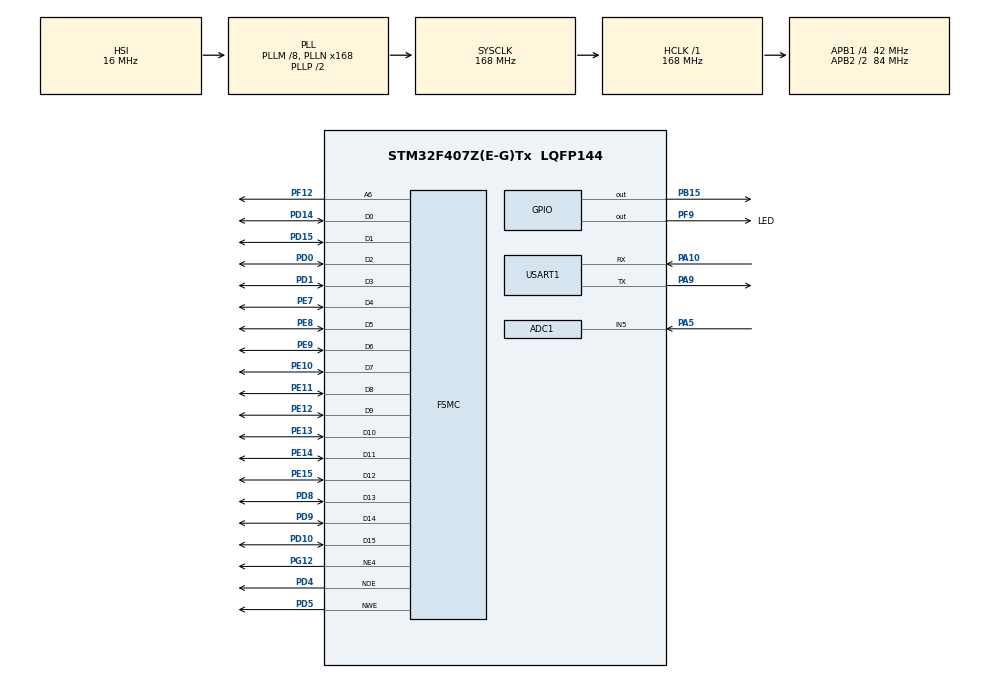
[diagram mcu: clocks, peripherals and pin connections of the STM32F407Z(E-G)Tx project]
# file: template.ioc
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Mcu.Family=STM32F4
PH0-OSC_IN.Signal=RCC_OSC_IN
RCC.CortexFreq_Value=168000000
SH.FSMC_D1_DA1.0=FSMC_D1,16b-d1
Dma.ADC1.1.MemDataAlignment=DMA_MDATAALIGN_HALFWORD
ADC1.ContinuousConvMode=ENABLE
SH.FSMC_A6.0=FSMC_A6,A6_1
SH.FSMC_NWE.0=FSMC_NWE,Lcd1
SH.FSMC_D0_DA0.0=FSMC_D0,16b-d1
FSMC.ExtendedBusTurnAroundDuration1=0
PB15.Signal=GPIO_Output
RCC.SYSCLKSource=RCC_SYSCLKSOURCE_PLLCLK
ProjectManager.StackSize=0x400
Dma.USART1_TX.0.Priority=DMA_PRIORITY_LOW
Dma.USART1_TX.0.Direction=DMA_MEMORY_TO_PERIPH
Dma.ADC1.1.Instance=DMA2_Stream0
ADC1.Channel-3\#ChannelRegularConversion=ADC_CHANNEL_5
RCC.HCLKFreq_Value=168000000
PD4.Signal=FSMC_NOE
RCC.APB2TimFreq_Value=168000000
ADC1.InjNumberOfConversion=0
Dma.ADC1.1.PeriphDataAlignment=DMA_PDATAALIGN_HALFWORD
PF12.Signal=FSMC_A6
PD0.Signal=FSMC_D2_DA2
PD8.Signal=FSMC_D13_DA13
NVIC.DMA2_Stream0_IRQn=true\:0\:0\:false\:false\:true\:false\:true
RCC.AHBFreq_Value=168000000
PH0-OSC_IN.Mode=HSE-External-Oscillator
RCC.HSE_VALUE=25000000
PE13.Signal=FSMC_D10_DA10
SH.FSMC_D14_DA14.0=FSMC_D14,16b-d1
PC14-OSC32_IN.Mode=LSE-External-Oscillator
SH.FSMC_D10_DA10.0=FSMC_D10,16b-d1
PE9.Signal=FSMC_D6_DA6
PA14.Mode=Serial_Wire
SH.FSMC_D6_DA6.0=FSMC_D6,16b-d1
NVIC.TIM2_IRQn=true\:0\:0\:false\:false\:true\:true\:true
Dma.ADC1.1.Priority=DMA_PRIORITY_LOW
Dma.ADC1.1.Mode=DMA_NORMAL
FSMC.BusTurnAroundDuration1=10
Dma.USART1_TX.0.PeriphDataAlignment=DMA_PDATAALIGN_BYTE
PE10.Signal=FSMC_D7_DA7
SH.FSMC_D5_DA5.0=FSMC_D5,16b-d1
SH.FSMC_D4_DA4.0=FSMC_D4,16b-d1
PH1-OSC_OUT.Mode=HSE-External-Oscillator
Mcu.Package=LQFP144
TIM2.Prescaler=42000-1
NVIC.DMA2_Stream7_IRQn=true\:0\:0\:false\:false\:true\:false\:true
Dma.ADC1.1.Direction=DMA_PERIPH_TO_MEMORY
SH.FSMC_D13_DA13.0=FSMC_D13,16b-d1
Dma.ADC1.1.MemInc=DMA_MINC_ENABLE
PA10.Signal=USART1_RX
Dma.USART1_TX.0.Instance=DMA2_Stream7
Dma.USART1_TX.0.FIFOMode=DMA_FIFOMODE_DISABLE
RCC.APB2CLKDivider=RCC_HCLK_DIV2
SH.FSMC_D3_DA3.0=FSMC_D3,16b-d1
Dma.Request1=ADC1
RCC.APB1TimFreq_Value=84000000
SH.FSMC_D2_DA2.0=FSMC_D2,16b-d1
PE7.Signal=FSMC_D4_DA4
NVIC.USART1_IRQn=true\:0\:0\:false\:false\:true\:true\:true
Dma.Request0=USART1_TX
PD15.Signal=FSMC_D1_DA1
PG12.Signal=FSMC_NE4
FSMC.ExtendedAddressSetupTime1=9
PC15-OSC32_OUT.Mode=LSE-External-Oscillator
SH.FSMC_D12_DA12.0=FSMC_D12,16b-d1
Dma.USART1_TX.0.MemInc=DMA_MINC_ENABLE
Dma.USART1_TX.0.PeriphInc=DMA_PINC_DISABLE
PA10.Mode=Asynchronous
FSMC.ExtendedMode1=FSMC_EXTENDED_MODE_ENABLE
PD1.Signal=FSMC_D3_DA3
SH.FSMC_D9_DA9.0=FSMC_D9,16b-d1
PD9.Signal=FSMC_D14_DA14
PD5.Signal=FSMC_NWE
RCC.APB1CLKDivider=RCC_HCLK_DIV4
PC14-OSC32_IN.Signal=RCC_OSC32_IN
SH.FSMC_D8_DA8.0=FSMC_D8,16b-d1
PD10.Signal=FSMC_D15_DA15
PA13.Signal=SYS_JTMS-SWDIO
PA9.Mode=Asynchronous
ProjectManager.TargetToolchain=Makefile
FSMC.DataSetupTime1=60
PA9.Signal=USART1_TX
PF9.GPIO_Label=LED
PE11.Signal=FSMC_D8_DA8
PC15-OSC32_OUT.Signal=RCC_OSC32_OUT
PA5.Signal=ADCx_IN5
SH.FSMC_D7_DA7.0=FSMC_D7,16b-d1
FSMC.ExtendedDataSetupTime1=8
Dma.USART1_TX.0.Mode=DMA_NORMAL
board=custom
PG12.Mode=NorPsramChipSelect4_1
RCC.VCOOutputFreq_Value=336000000
Dma.ADC1.1.FIFOMode=DMA_FIFOMODE_DISABLE
RCC.APB2Freq_Value=84000000
PE14.Signal=FSMC_D11_DA11
PE15.Signal=FSMC_D12_DA12
VP_TIM2_VS_ClockSourceINT.Mode=Internal
PE8.Signal=FSMC_D5_DA5
PH1-OSC_OUT.Signal=RCC_OSC_OUT
Dma.ADC1.1.PeriphInc=DMA_PINC_DISABLE
ADC1.DMAContinuousRequests=ENABLE
TIM2.Period=1000-1
ADC1.NbrOfConversion=1
PA13.Mode=Serial_Wire
Mcu.Name=STM32F407Z(E-G)Tx
PE12.Signal=FSMC_D9_DA9
PD14.Signal=FSMC_D0_DA0
RCC.48MHZClocksFreq_Value=84000000
RCC.SYSCLKFreq_VALUE=168000000
ADC1.master=1
ADC1.SamplingTime-3\#ChannelRegularConversion=ADC_SAMPLETIME_3CYCLES
ADC1.Rank-3\#ChannelRegularConversion=1
USART1.VirtualMode=VM_ASYNC
Dma.USART1_TX.0.MemDataAlignment=DMA_MDATAALIGN_BYTE
SH.FSMC_D15_DA15.0=FSMC_D15,16b-d1
PA14.Signal=SYS_JTCK-SWCLK
ProjectManager.HeapSize=0x200
SH.FSMC_D11_DA11.0=FSMC_D11,16b-d1
SH.FSMC_NOE.0=FSMC_NOE,Lcd1
PF9.Signal=GPIO_Output
RCC.HSI_VALUE=16000000
SH.ADCx_IN5.0=ADC1_IN5,IN5
NVIC.PriorityGroup=NVIC_PRIORITYGROUP_4
ADC1.NbrOfConversionFlag=1
RCC.PLLM=8
RCC.PLLN=168
RCC.APB1Freq_Value=42000000

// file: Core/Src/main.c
/* USER CODE BEGIN Header */
/**
  ******************************************************************************
  * @file           : main.c
  * @brief          : Main program body
  ******************************************************************************
  * @attention
  *
  * <h2><center>&copy; Copyright (c) 2021 STMicroelectronics.
  * All rights reserved.</center></h2>
  *
  * This software component is licensed by ST under BSD 3-Clause license,
  * the "License"; You may not use this file except in compliance with the
  * License. You may obtain a copy of the License at:
  *                        opensource.org/licenses/BSD-3-Clause
  *
  ******************************************************************************
  */
/* USER CODE END Header */
#include "main.h"
#include "adc.h"
#include "dma.h"
#include "tim.h"
#include "usart.h"
#include "gpio.h"
#include "fsmc.h"

/* USER CODE BEGIN Includes */
#include <stdio.h>
#include <string.h>
#include "lvgl.h"
#include "GT9147.h"
#include "lvgl_app.h"
/* USER CODE END Includes */

/* USER CODE BEGIN PD */
#define LVGL_TICK 	5
/* USER CODE END PD */

/* USER CODE BEGIN PV */
uint8_t temp_1[5];
uint16_t adcx;
float temp;
uint16_t wave[640];
uint16_t AD1[6000];
uint8_t adc1CpltFlg;

/* USER CODE END PV */

void SystemClock_Config(void);
/* USER CODE BEGIN PFP */
uint16_t Get_Adc(uint32_t ch)
{
  HAL_ADC_Start(&hadc1); //开启 ADC
  HAL_ADC_PollForConversion(&hadc1,10); //轮询转换
  return (uint16_t)HAL_ADC_GetValue(&hadc1);
//返回最近一次 ADC1 规则组的转换结果
}
uint16_t Get_Adc_Average(uint32_t ch,uint8_t times){
  uint32_t temp_val=0;
  uint8_t t;
  for(t=0;t<times;t++){
    temp_val+=Get_Adc(ch);
    HAL_Delay(5);
  }
  return temp_val/times;
}

void HAL_ADC_ConvCpltCallback(ADC_HandleTypeDef *hadc){
  if(hadc->Instance == ADC1){
    adc1CpltFlg =1;
  }
}

void Wave_Data_Init(void){
  //AD1_Max=0;
  //AD1_Min=4096;
  uint16_t Point_num=6000 ;
  for(int i = 0,k=0; i < Point_num;) {
    wave[k]=0;
    for (int j = 0; j < Point_num/640; ++j) {
      wave[k]+=AD1[i++];
    }
    //printf("%ld\r\n",AD1[i]);
    wave[k]/=(Point_num/640);
    wave[k]=(wave[k]/4096.0)*3300;
    //printf("%ld\r\n",wave[k]);
    k++;
  }

}
/* USER CODE END PFP */

int main(void)
{

  /* MCU Configuration--------------------------------------------------------*/

  /* Reset of all peripherals, Initializes the Flash interface and the Systick. */
  HAL_Init();

  /* Configure the system clock */
  SystemClock_Config();

  /* Initialize all configured peripherals */
  MX_GPIO_Init();
  MX_DMA_Init();
  MX_USART1_UART_Init();
  MX_FSMC_Init();
  MX_ADC1_Init();
  MX_TIM2_Init();
  /* USER CODE BEGIN 2 */

  /* 初始化 LVGL */
  HAL_GPIO_WritePin(GPIOB,GPIO_PIN_15,GPIO_PIN_SET);
  lv_init();
  lv_port_disp_init();        // 显示器初始化
  lv_port_indev_init();       // 输入设备初始化（如果没有实现就注释掉）
  //lv_port_fs_init();          // 文件系统设备初始化（如果没有实现就注释掉）

  //lv_example_btn_1();
  //lv_example_label_1();
  wave_chart_init();
  wave_btn();
  //lv_example_keyboard_1();
  uint32_t tick[5];
  tick[0]=HAL_GetTick()+1;
  tick[1]=HAL_GetTick()+1;

  HAL_TIM_Base_Start_IT(&htim2);
  HAL_ADC_Start_DMA(&hadc1,(uint16_t *)AD1,6000);
  /* USER CODE END 2 */

  /* Infinite loop */
  /* USER CODE BEGIN WHILE */
  while (1)
  {
    //HAL_Delay(1000);
    lv_tick_inc(LVGL_TICK);
		lv_task_handler();
    HAL_Delay(LVGL_TICK);
    if((HAL_GetTick()-tick[0])>1000){
      tick[0]=HAL_GetTick();

    }
    if((HAL_GetTick()-tick[1])>500){
      tick[1]=HAL_GetTick();

    }

    /* USER CODE END WHILE */

  }
}

void SystemClock_Config(void)
{
  RCC_OscInitTypeDef RCC_OscInitStruct = {0};
  RCC_ClkInitTypeDef RCC_ClkInitStruct = {0};

  /** Configure the main internal regulator output voltage
  */
  __HAL_RCC_PWR_CLK_ENABLE();
  __HAL_PWR_VOLTAGESCALING_CONFIG(PWR_REGULATOR_VOLTAGE_SCALE1);
  /** Initializes the RCC Oscillators according to the specified parameters
  * in the RCC_OscInitTypeDef structure.
  */
  RCC_OscInitStruct.OscillatorType = RCC_OSCILLATORTYPE_HSI;
  RCC_OscInitStruct.HSIState = RCC_HSI_ON;
  RCC_OscInitStruct.HSICalibrationValue = RCC_HSICALIBRATION_DEFAULT;
  RCC_OscInitStruct.PLL.PLLState = RCC_PLL_ON;
  RCC_OscInitStruct.PLL.PLLSource = RCC_PLLSOURCE_HSI;
  RCC_OscInitStruct.PLL.PLLM = 8;
  RCC_OscInitStruct.PLL.PLLN = 168;
  RCC_OscInitStruct.PLL.PLLP = RCC_PLLP_DIV2;
  RCC_OscInitStruct.PLL.PLLQ = 4;
  if (HAL_RCC_OscConfig(&RCC_OscInitStruct) != HAL_OK)
  {
    Error_Handler();
  }
  /** Initializes the CPU, AHB and APB buses clocks
  */
  RCC_ClkInitStruct.ClockType = RCC_CLOCKTYPE_HCLK|RCC_CLOCKTYPE_SYSCLK
                              |RCC_CLOCKTYPE_PCLK1|RCC_CLOCKTYPE_PCLK2;
  RCC_ClkInitStruct.SYSCLKSource = RCC_SYSCLKSOURCE_PLLCLK;
  RCC_ClkInitStruct.AHBCLKDivider = RCC_SYSCLK_DIV1;
  RCC_ClkInitStruct.APB1CLKDivider = RCC_HCLK_DIV4;
  RCC_ClkInitStruct.APB2CLKDivider = RCC_HCLK_DIV2;

  if (HAL_RCC_ClockConfig(&RCC_ClkInitStruct, FLASH_LATENCY_5) != HAL_OK)
  {
    Error_Handler();
  }
}

/* USER CODE BEGIN 4 */

void TIM2_Callback(){
  //HAL_GPIO_TogglePin(LED_GPIO_Port, LED_Pin);
  extern lv_obj_t * wave_chart;
  extern uint8_t waveStopFlg;
  extern lv_chart_series_t * wave_ser;
  if(adc1CpltFlg){
      //HAL_Delay(100);
      Wave_Data_Init();
      if(waveStopFlg==0){
        lv_chart_set_point_count(wave_chart, 640);
        lv_chart_set_ext_y_array(wave_chart, wave_ser, (lv_coord_t *)wave);
      }
      adc1CpltFlg=0;
      HAL_ADC_Start_DMA(&hadc1,(uint16_t *)AD1,6000);
    }
}
/* USER CODE END 4 */

void Error_Handler(void)
{
  __disable_irq();
  while (1)
  {
  }
}

/************************ (C) COPYRIGHT STMicroelectronics *****END OF FILE****/
